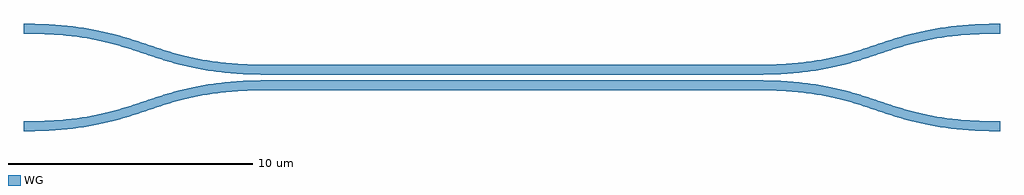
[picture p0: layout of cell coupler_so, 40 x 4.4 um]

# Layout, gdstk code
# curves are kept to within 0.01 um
import gdstk
lib = gdstk.Library(unit=1e-6, precision=1e-09)
def R(c, l, rs):  # rectangles x0, y0, x1, y1
    for r in rs: c.add(gdstk.rectangle(r[:2], r[2:], *l))
def P(c, l, *ps):  # polygons
    for p in ps: c.add(gdstk.Polygon(p, *l))
WG = (3, 0)

coupler_so = lib.new_cell('coupler_so')
R(coupler_so, WG, [(0,-0.2,20,0.2), (0,0.436,20,0.836)])
P(coupler_so, WG, [(0,0.2),(-0.594,0.192),(-1.272,0.16),(-1.888,0.106),(-2.658,-0.001),(-3.247,-0.117),(-3.87,-0.274),(-4.443,-0.446),(-6.074,-0.976),(-6.575,-1.112),(-7.118,-1.233),(-7.824,-1.35),(-8.508,-1.424),(-9.144,-1.464),(-10,-1.482),(-10,-1.882),(-9.406,-1.874),(-8.728,-1.842),(-8.112,-1.788),(-7.342,-1.681),(-6.753,-1.565),(-6.13,-1.408),(-5.557,-1.236),(-3.926,-0.706),(-3.425,-0.57),(-2.882,-0.449),(-2.176,-0.332),(-1.492,-0.258),(-0.856,-0.218),(0,-0.2)],
  [(0,0.436),(-0.594,0.444),(-1.272,0.476),(-1.888,0.53),(-2.658,0.637),(-3.247,0.753),(-3.87,0.91),(-4.443,1.082),(-6.074,1.612),(-6.575,1.748),(-7.118,1.869),(-7.824,1.986),(-8.508,2.06),(-9.144,2.1),(-10,2.118),(-10,2.518),(-9.406,2.51),(-8.728,2.478),(-8.112,2.424),(-7.342,2.317),(-6.753,2.201),(-6.13,2.044),(-5.557,1.872),(-3.926,1.342),(-3.425,1.206),(-2.882,1.085),(-2.176,0.968),(-1.492,0.894),(-0.856,0.854),(0,0.836)],
  [(20,0.436),(20.594,0.444),(21.272,0.476),(21.888,0.53),(22.658,0.637),(23.247,0.753),(23.87,0.91),(24.443,1.082),(26.074,1.612),(26.575,1.748),(27.118,1.869),(27.824,1.986),(28.508,2.06),(29.144,2.1),(30,2.118),(30,2.518),(29.406,2.51),(28.728,2.478),(28.112,2.424),(27.342,2.317),(26.753,2.201),(26.13,2.044),(25.557,1.872),(23.926,1.342),(23.425,1.206),(22.882,1.085),(22.176,0.968),(21.492,0.894),(20.856,0.854),(20,0.836)],
  [(20,0.2),(20.594,0.192),(21.272,0.16),(21.888,0.106),(22.658,-0.001),(23.247,-0.117),(23.87,-0.274),(24.443,-0.446),(26.074,-0.976),(26.575,-1.112),(27.118,-1.233),(27.824,-1.35),(28.508,-1.424),(29.144,-1.464),(30,-1.482),(30,-1.882),(29.406,-1.874),(28.728,-1.842),(28.112,-1.788),(27.342,-1.681),(26.753,-1.565),(26.13,-1.408),(25.557,-1.236),(23.926,-0.706),(23.425,-0.57),(22.882,-0.449),(22.176,-0.332),(21.492,-0.258),(20.856,-0.218),(20,-0.2)])

lib.write_gds('coupler_so.gds')
